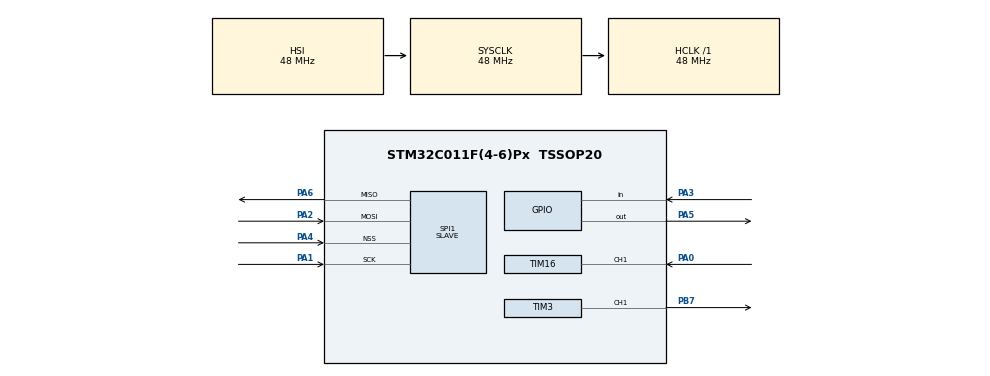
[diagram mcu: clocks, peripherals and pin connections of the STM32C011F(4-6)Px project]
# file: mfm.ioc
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Mcu.Family=STM32C0
Mcu.Name=STM32C011F(4-6)Px
Mcu.Package=TSSOP20
NVIC.TIM1_BRK_UP_TRG_COM_IRQn=true\:3\:0\:false\:false\:true\:false\:true\:true
NVIC.TimeBase=TIM1_BRK_UP_TRG_COM_IRQn
NVIC.TimeBaseIP=TIM1
PA0.Signal=S_TIM16_CH1
PA1.Mode=Full_Duplex_Slave
PA1.Signal=SPI1_SCK
PA13.Mode=Serial_Wire
PA13.Signal=DEBUG_SWDIO
PA14-BOOT0.Mode=Serial_Wire
PA14-BOOT0.Signal=DEBUG_SWCLK
PA2.Mode=Full_Duplex_Slave
PA2.Signal=SPI1_MOSI
PA3.Signal=GPIO_Input
PA4.Mode=NSS_Signal_Hard_Input
PA4.Signal=SPI1_NSS
PA5.Signal=GPIO_Output
PA6.Mode=Full_Duplex_Slave
PA6.Signal=SPI1_MISO
PB7.Signal=S_TIM3_CH1
ProjectManager.HeapSize=0x200
ProjectManager.StackSize=0x400
ProjectManager.TargetToolchain=STM32CubeIDE
RCC.ADCFreq_Value=48000000
RCC.AHBFreq_Value=48000000
RCC.CortexFreq_Value=48000000
RCC.EXTERNAL_CLOCK_VALUE=12288000
RCC.HCLKFreq_Value=48000000
RCC.HSE_VALUE=8000000
RCC.HSISYSCLKDivider=RCC_HSI_DIV1
RCC.HSI_VALUE=48000000
RCC.LSE_VALUE=32768
RCC.SYSCLKFreq_VALUE=48000000
SH.S_TIM16_CH1.0=TIM16_CH1,Input_Capture1_from_TI1
SH.S_TIM3_CH1.0=TIM3_CH1,PWM Generation1 CH1
SPI1.Direction=SPI_DIRECTION_2LINES
SPI1.Mode=SPI_MODE_SLAVE
SPI1.VirtualNSS=VM_NSSHARD
SPI1.VirtualType=VM_SLAVE
TIM16.Channel=TIM_CHANNEL_1
TIM16.ICPolarity_CH1=TIM_INPUTCHANNELPOLARITY_FALLING
TIM16.Prescaler=5
TIM3.Channel-PWM\ Generation1\ CH1=TIM_CHANNEL_1
TIM3.OC1Preload_PWM=DISABLE
TIM3.Period=8
TIM3.Prescaler=23
TIM3.Pulse-PWM\ Generation1\ CH1=1
VP_SYS_VS_tim1.Mode=TIM1
VP_TIM16_VS_ClockSourceINT.Mode=Enable_Timer
VP_TIM3_VS_ClockSourceINT.Mode=Internal
board=custom

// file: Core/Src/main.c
/* USER CODE BEGIN Header */
/**
  ******************************************************************************
  * @file           : main.c
  * @brief          : Main program body
  ******************************************************************************
  * @attention
  *
  * Copyright (c) 2025 STMicroelectronics.
  * All rights reserved.
  *
  * This software is licensed under terms that can be found in the LICENSE file
  * in the root directory of this software component.
  * If no LICENSE file comes with this software, it is provided AS-IS.
  *
  ******************************************************************************
  */
/* USER CODE END Header */
#include "main.h"

/* USER CODE BEGIN Includes */

#include "circularbuffer.h"

/* USER CODE END Includes */

/* USER CODE BEGIN PD */

#define MFM_4US         1
#define MFM_6US         2
#define MFM_8US         3

#define PULSE_TOO_SHORT 18
#define PULSE_4US       36
#define PULSE_6US       52
#define PULSE_8US       72

#define PIN_WGATE       (1 << 3)        // GPIOA 3, write is happening when WGATE is L
#define PIN_HALF_EMPTY  (1 << 5)        // GPIOA 5, SPI can get more data if this is H

/* USER CODE END PD */

SPI_HandleTypeDef hspi1;

TIM_HandleTypeDef htim3;
TIM_HandleTypeDef htim16;

/* USER CODE BEGIN PV */

TCircBuffer bfrSpiRx;   // receives data from SPI, sends it to MFM - for MFM read stream
TCircBuffer bfrSpiTx;   // receives data from MFM, sends it to SPI - for MFM write stream

/* USER CODE END PV */

void SystemClock_Config(void);
static void MX_GPIO_Init(void);
static void MX_TIM3_Init(void);
static void MX_SPI1_Init(void);
static void MX_TIM16_Init(void);

/* USER CODE BEGIN 0 */

void updateReadTimer(void)
{
    static uint8_t streamByte = 0;
    static uint8_t bitsAvail = 0;
    static uint16_t arrValues[4] = {7, 7, 11, 15};       // conversion table from mfm packed symbol to timer ARR value (for 0 us, 4 us, 6 us, 8 us)

    if(bitsAvail == 0) {        // all bits used? get new stream byte
        bitsAvail = 8;
        streamByte = (bfrSpiRx.count > 0) ? cicrularGet(&bfrSpiRx) : 0x55;
    }

    bitsAvail -= 2;             // decrease bits available, because we're using 2 bits now
    uint8_t encodedMfmTime = (streamByte >> bitsAvail) & 0x03;      // get bits 7-6, then 5-4, then 3-2, then 1-0 (by shifting right by 6, 4, 2, 0)
    uint16_t arrValue = arrValues[encodedMfmTime];      // from 1-3 values to actual ARR values

    TIM3->ARR = arrValue;       // update ARR value
}

void updateWriteData(uint32_t duration)
{
    static uint8_t streamByte = 0;
    static uint8_t bits = 0;

    uint8_t newTime = 0;

    if(duration < PULSE_TOO_SHORT) {    // if this pulse is too short (less than 2.7 us long)
        return;
    } else if(duration < PULSE_4US) {   // 4 us? (interval 2.7 us - 5.0 us) (40 pulses of 0.125 us)
        newTime = MFM_4US;
    } else if(duration < PULSE_6US) {   // 6 us? (interval 5.0 us - 7.0 us) (56 pulses of 0.125 us)
        newTime = MFM_6US;
    } else if(duration < PULSE_8US) {   // 8 us? (interval 7.0 us - 9.0 us) (72 pulses of 0.125 us)
        newTime = MFM_8US;
    } else {                            // pulse too long? (longer than 9 us)
        return;
    }

    streamByte = (streamByte << 2) | newTime;   // append new time to streamByte
    bits += 2;              // now got 2 more bits

    if(bits >= 8) {         // got 8 bits?
        // tx buffer not full? add streamByte to tx buffer
        if(bfrSpiTx.count < CIRCBUFFER_SIZE) {
            cicrularAdd(&bfrSpiTx, streamByte);
        }
        bits = 0;           // don't have bits now
    }
}

/* USER CODE END 0 */

int main(void)
{
  /* USER CODE BEGIN 1 */
  circularInit(&bfrSpiRx);
  circularInit(&bfrSpiTx);

  /* USER CODE END 1 */

  /* MCU Configuration--------------------------------------------------------*/

  /* Reset of all peripherals, Initializes the Flash interface and the Systick. */
  HAL_Init();

  /* Configure the system clock */
  SystemClock_Config();

  /* Initialize all configured peripherals */
  MX_GPIO_Init();
  MX_TIM3_Init();
  MX_SPI1_Init();
  MX_TIM16_Init();

  /* Infinite loop */
  /* USER CODE BEGIN WHILE */
  while (1)
  {
    // RXNE? read data, place it in RX buffer if have space
    if(SPI1->SR & 1) {
        uint8_t data = SPI1->DR;
        if(bfrSpiRx.count < CIRCBUFFER_SIZE) {
            cicrularAdd(&bfrSpiRx, data);
        }

        // the buffer contains less data than half of its size, we can receive more
        if(bfrSpiRx.count < (CIRCBUFFER_SIZE/2)) {
            GPIOA->BSRR = PIN_HALF_EMPTY;       // pin to H
        } else {    // the buffer is half full, don't receive more
            GPIOA->BRR = PIN_HALF_EMPTY;        // pin to L
        }
    }

    // TXE? if have TX data in TX buffer, place it in DR
    if(SPI1->SR & 2) {
        uint8_t data = (bfrSpiTx.count > 0) ? cicrularGet(&bfrSpiTx) : 0;
        SPI1->DR = data;
    }

    // overflow of TIM3 occurred (UIF flag set)? stream next mfm symbol
    if((TIM3->SR & TIM_SR_UIF) != 0) {
        TIM3->SR = ~TIM_SR_UIF;             // clear UIF flag
        updateReadTimer();
    }

    // CC1IF bit set? input capture happened
    if (TIM16->SR & TIM_SR_CC1IF) {
        TIM16->SR = ~TIM_SR_CC1IF;          // Clear the flag
        uint32_t captured = TIM16->CCR1;

        // only if WGATE is L, send the input WDATA to buffer
        if((GPIOA->IDR & PIN_WGATE) == 0) {
            updateWriteData(captured);
        }
    }

    /* USER CODE END WHILE */

  }
}

void SystemClock_Config(void)
{
  RCC_OscInitTypeDef RCC_OscInitStruct = {0};
  RCC_ClkInitTypeDef RCC_ClkInitStruct = {0};

  /** Initializes the RCC Oscillators according to the specified parameters
  * in the RCC_OscInitTypeDef structure.
  */
  RCC_OscInitStruct.OscillatorType = RCC_OSCILLATORTYPE_HSI;
  RCC_OscInitStruct.HSIState = RCC_HSI_ON;
  RCC_OscInitStruct.HSIDiv = RCC_HSI_DIV1;
  RCC_OscInitStruct.HSICalibrationValue = RCC_HSICALIBRATION_DEFAULT;
  if (HAL_RCC_OscConfig(&RCC_OscInitStruct) != HAL_OK)
  {
    Error_Handler();
  }

  /** Initializes the CPU, AHB and APB buses clocks
  */
  RCC_ClkInitStruct.ClockType = RCC_CLOCKTYPE_HCLK|RCC_CLOCKTYPE_SYSCLK
                              |RCC_CLOCKTYPE_PCLK1;
  RCC_ClkInitStruct.SYSCLKSource = RCC_SYSCLKSOURCE_HSI;
  RCC_ClkInitStruct.SYSCLKDivider = RCC_SYSCLK_DIV1;
  RCC_ClkInitStruct.AHBCLKDivider = RCC_HCLK_DIV1;
  RCC_ClkInitStruct.APB1CLKDivider = RCC_APB1_DIV1;

  if (HAL_RCC_ClockConfig(&RCC_ClkInitStruct, FLASH_LATENCY_1) != HAL_OK)
  {
    Error_Handler();
  }
}

static void MX_SPI1_Init(void)
{

  /* SPI1 parameter configuration*/
  hspi1.Instance = SPI1;
  hspi1.Init.Mode = SPI_MODE_SLAVE;
  hspi1.Init.Direction = SPI_DIRECTION_2LINES;
  hspi1.Init.DataSize = SPI_DATASIZE_8BIT;
  hspi1.Init.CLKPolarity = SPI_POLARITY_LOW;
  hspi1.Init.CLKPhase = SPI_PHASE_1EDGE;
  hspi1.Init.NSS = SPI_NSS_HARD_INPUT;
  hspi1.Init.FirstBit = SPI_FIRSTBIT_MSB;
  hspi1.Init.TIMode = SPI_TIMODE_DISABLE;
  hspi1.Init.CRCCalculation = SPI_CRCCALCULATION_DISABLE;
  hspi1.Init.CRCPolynomial = 7;
  hspi1.Init.CRCLength = SPI_CRC_LENGTH_DATASIZE;
  hspi1.Init.NSSPMode = SPI_NSS_PULSE_DISABLE;
  if (HAL_SPI_Init(&hspi1) != HAL_OK)
  {
    Error_Handler();
  }

}

static void MX_TIM3_Init(void)
{

  TIM_ClockConfigTypeDef sClockSourceConfig = {0};
  TIM_MasterConfigTypeDef sMasterConfig = {0};
  TIM_OC_InitTypeDef sConfigOC = {0};

  htim3.Instance = TIM3;
  htim3.Init.Prescaler = 23;
  htim3.Init.CounterMode = TIM_COUNTERMODE_UP;
  htim3.Init.Period = 8;
  htim3.Init.ClockDivision = TIM_CLOCKDIVISION_DIV1;
  htim3.Init.AutoReloadPreload = TIM_AUTORELOAD_PRELOAD_DISABLE;
  if (HAL_TIM_Base_Init(&htim3) != HAL_OK)
  {
    Error_Handler();
  }
  sClockSourceConfig.ClockSource = TIM_CLOCKSOURCE_INTERNAL;
  if (HAL_TIM_ConfigClockSource(&htim3, &sClockSourceConfig) != HAL_OK)
  {
    Error_Handler();
  }
  if (HAL_TIM_PWM_Init(&htim3) != HAL_OK)
  {
    Error_Handler();
  }
  sMasterConfig.MasterOutputTrigger = TIM_TRGO_RESET;
  sMasterConfig.MasterSlaveMode = TIM_MASTERSLAVEMODE_DISABLE;
  if (HAL_TIMEx_MasterConfigSynchronization(&htim3, &sMasterConfig) != HAL_OK)
  {
    Error_Handler();
  }
  sConfigOC.OCMode = TIM_OCMODE_PWM1;
  sConfigOC.Pulse = 1;
  sConfigOC.OCPolarity = TIM_OCPOLARITY_HIGH;
  sConfigOC.OCFastMode = TIM_OCFAST_DISABLE;
  if (HAL_TIM_PWM_ConfigChannel(&htim3, &sConfigOC, TIM_CHANNEL_1) != HAL_OK)
  {
    Error_Handler();
  }
  __HAL_TIM_DISABLE_OCxPRELOAD(&htim3, TIM_CHANNEL_1);
  HAL_TIM_MspPostInit(&htim3);

}

static void MX_TIM16_Init(void)
{

  TIM_IC_InitTypeDef sConfigIC = {0};

  htim16.Instance = TIM16;
  htim16.Init.Prescaler = 5;
  htim16.Init.CounterMode = TIM_COUNTERMODE_UP;
  htim16.Init.Period = 65535;
  htim16.Init.ClockDivision = TIM_CLOCKDIVISION_DIV1;
  htim16.Init.RepetitionCounter = 0;
  htim16.Init.AutoReloadPreload = TIM_AUTORELOAD_PRELOAD_DISABLE;
  if (HAL_TIM_Base_Init(&htim16) != HAL_OK)
  {
    Error_Handler();
  }
  if (HAL_TIM_IC_Init(&htim16) != HAL_OK)
  {
    Error_Handler();
  }
  sConfigIC.ICPolarity = TIM_INPUTCHANNELPOLARITY_FALLING;
  sConfigIC.ICSelection = TIM_ICSELECTION_DIRECTTI;
  sConfigIC.ICPrescaler = TIM_ICPSC_DIV1;
  sConfigIC.ICFilter = 0;
  if (HAL_TIM_IC_ConfigChannel(&htim16, &sConfigIC, TIM_CHANNEL_1) != HAL_OK)
  {
    Error_Handler();
  }

}

static void MX_GPIO_Init(void)
{
  GPIO_InitTypeDef GPIO_InitStruct = {0};

  /* GPIO Ports Clock Enable */
  __HAL_RCC_GPIOB_CLK_ENABLE();
  __HAL_RCC_GPIOA_CLK_ENABLE();

  /*Configure GPIO pin Output Level */
  HAL_GPIO_WritePin(GPIOA, GPIO_PIN_5, GPIO_PIN_RESET);

  /*Configure GPIO pin : PA3 */
  GPIO_InitStruct.Pin = GPIO_PIN_3;
  GPIO_InitStruct.Mode = GPIO_MODE_INPUT;
  GPIO_InitStruct.Pull = GPIO_NOPULL;
  HAL_GPIO_Init(GPIOA, &GPIO_InitStruct);

  /*Configure GPIO pin : PA5 */
  GPIO_InitStruct.Pin = GPIO_PIN_5;
  GPIO_InitStruct.Mode = GPIO_MODE_OUTPUT_PP;
  GPIO_InitStruct.Pull = GPIO_NOPULL;
  GPIO_InitStruct.Speed = GPIO_SPEED_FREQ_LOW;
  HAL_GPIO_Init(GPIOA, &GPIO_InitStruct);

}

void HAL_TIM_PeriodElapsedCallback(TIM_HandleTypeDef *htim)
{
  if (htim->Instance == TIM1) {
    HAL_IncTick();
  }
}

void Error_Handler(void)
{
  __disable_irq();
  while (1)
  {
  }
}
